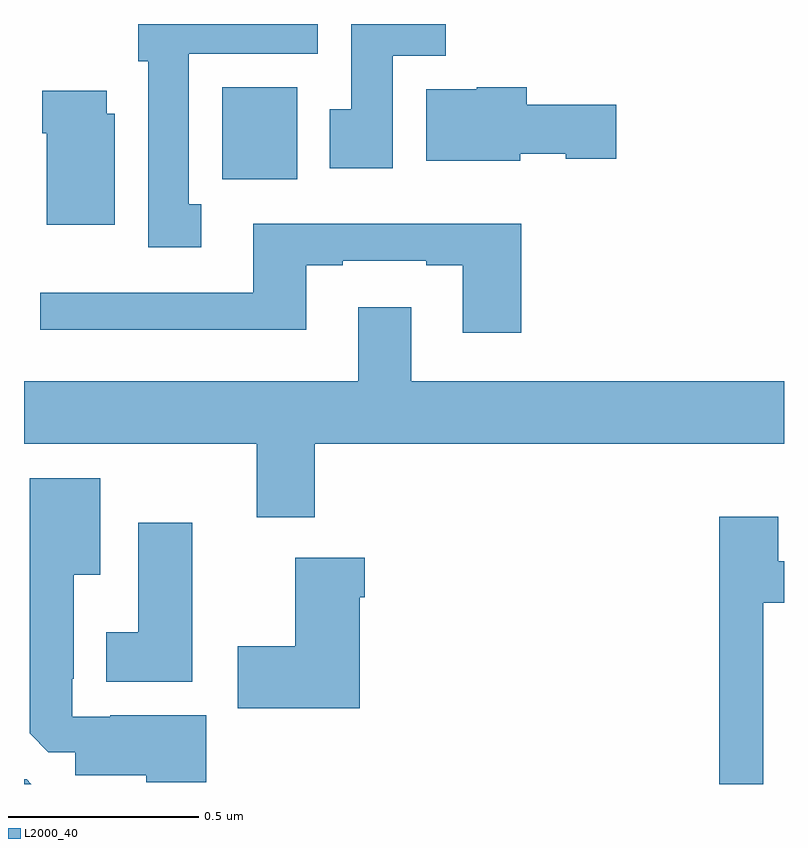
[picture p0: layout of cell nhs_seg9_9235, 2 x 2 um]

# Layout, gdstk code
import gdstk
lib = gdstk.Library(unit=1e-6, precision=1e-09)
def R(c, l, rs):  # rectangles x0, y0, x1, y1
    for r in rs: c.add(gdstk.rectangle(r[:2], r[2:], *l))
def P(c, l, *ps):  # polygons
    for p in ps: c.add(gdstk.Polygon(p, *l))
L2000_40 = (2000, 40)

nhs_seg9_9235 = lib.new_cell('nhs_seg9_9235')
R(nhs_seg9_9235, L2000_40, [(227.522,1221.092,227.719,1221.334)])
P(nhs_seg9_9235, L2000_40, [(227.971,1221.416),(228.11,1221.416),(228.11,1221.5),(227.861,1221.5),(227.861,1221.276),(227.804,1221.276),(227.804,1221.12),(227.971,1221.12)],
  [(227.467,1221.026),(227.434,1221.026),(227.434,1221.422),(227.773,1221.422),(227.773,1221.5),(227.3,1221.5),(227.3,1221.402),(227.327,1221.402),(227.327,1220.913),(227.467,1220.913)],
  [(228.306,1221.158),(228.426,1221.158),(228.426,1221.146),(228.559,1221.146),(228.559,1221.288),(228.323,1221.288),(228.323,1221.334),(228.192,1221.334),(228.192,1221.328),(228.059,1221.328),(228.059,1221.14),(228.306,1221.14)],
  [(227.239,1221.264),(227.218,1221.264),(227.218,1221.325),(227.048,1221.325),(227.048,1221.212),(227.06,1221.212),(227.06,1220.972),(227.239,1220.972)],
  [(228.308,1220.974),(227.603,1220.974),(227.603,1220.793),(227.043,1220.793),(227.043,1220.696),(227.743,1220.696),(227.743,1220.865),(227.839,1220.865),(227.839,1220.877),(228.059,1220.877),(228.059,1220.865),(228.155,1220.865),(228.155,1220.688),(228.308,1220.688)],
  [(227.765,1220.396),(229,1220.396),(229,1220.56),(228.019,1220.56),(228.019,1220.755),(227.879,1220.755),(227.879,1220.56),(227,1220.56),(227,1220.396),(227.612,1220.396),(227.612,1220.202),(227.765,1220.202)],
  [(227.479,1219.681),(227.227,1219.681),(227.227,1219.677),(227.127,1219.677),(227.127,1219.777),(227.131,1219.777),(227.131,1220.051),(227.2,1220.051),(227.2,1220.305),(227.015,1220.305),(227.015,1219.633),(227.064,1219.584),(227.135,1219.584),(227.135,1219.523),(227.322,1219.523),(227.322,1219.505),(227.479,1219.505)],
  [(228.945,1219.977),(229,1219.977),(229,1220.086),(228.985,1220.086),(228.985,1220.203),(228.829,1220.203),(228.829,1219.5),(228.945,1219.5)],
  [(227.443,1220.188),(227.3,1220.188),(227.3,1219.9),(227.216,1219.9),(227.216,1219.769),(227.443,1219.769)],
  [(227.884,1219.991),(227.897,1219.991),(227.897,1220.095),(227.714,1220.095),(227.714,1219.863),(227.562,1219.863),(227.562,1219.7),(227.884,1219.7)],
  [(227.007,1219.512),(227,1219.512),(227,1219.5),(227.019,1219.5)])

lib.write_gds('nhs_seg9_9235.gds')
